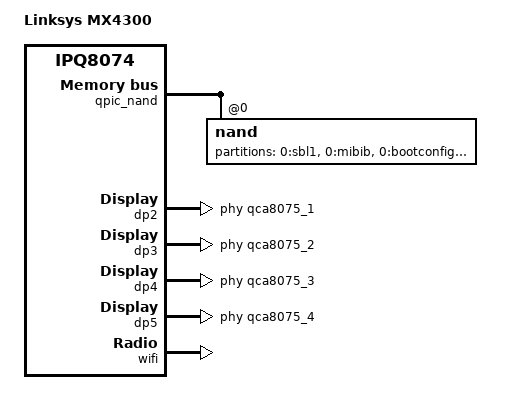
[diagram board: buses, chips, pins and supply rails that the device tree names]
// SPDX-License-Identifier: GPL-2.0-or-later OR MIT

/dts-v1/;

#include "ipq8174-mx4x00.dtsi"

/ {
	model = "Linksys MX4300";
	compatible = "linksys,mx4300", "qcom,ipq8074";

	chosen {
		/*
		In the kernel command line, replace the first occurence of bootargs-find-X with bootargs-replace-X.
		If bootargs-exact-match-X is set to "y", then replacement happens only if the kernel command line
		is identical to bootargs-find-X.
		*/
		bootargs-find-1 = "ubi.mtd=22,2048";
		bootargs-replace-1 = "ubi.mtd=22,4096";

		bootargs-find-2 = "ubi.mtd=24,2048";
		bootargs-replace-2 = "ubi.mtd=24,4096";
	};
};

&qpic_nand {
	status = "okay";

	/*
	 * Bootloader will find the NAND DT node by the compatible and
	 * then "fixup" it by adding the partitions from the SMEM table
	 * using the legacy bindings thus making it impossible for us
	 * to change the partition table or utilize NVMEM for calibration.
	 * So add a dummy partitions node that bootloader will populate
	 * and set it as disabled so the kernel ignores it instead of
	 * printing warnings due to the broken way bootloader adds the
	 * partitions.
	 */
	partitions {
		status = "disabled";
	};

	nand@0 {
		reg = <0>;
		/*
		 * Some devices use Micron NAND with with 8 bit ECC 
		 * other AMD/Spansion NAND with 4 bit ECC
		 *nand-ecc-strength = <4>;
		 *nand-ecc-step-size = <512>;
		 */
		nand-bus-width = <8>;

		partitions {
			compatible = "fixed-partitions";
			#address-cells = <1>;
			#size-cells = <1>;

			partition@0 {
				label = "0:sbl1";
				reg = <0x0 0x100000>;
				read-only;
			};

			partition@100000 {
				label = "0:mibib";
				reg = <0x100000 0x100000>;
				read-only;
			};

			partition@200000 {
				label = "0:bootconfig";
				reg = <0x200000 0x80000>;
				read-only;
			};

			partition@280000 {
				label = "0:bootconfig1";
				reg = <0x280000 0x80000>;
				read-only;
			};

			partition@300000 {
				label = "0:qsee";
				reg = <0x300000 0x300000>;
				read-only;
			};

			partition@600000 {
				label = "0:qsee_1";
				reg = <0x600000 0x300000>;
				read-only;
			};

			partition@900000 {
				label = "0:devcfg";
				reg = <0x900000 0x80000>;
				read-only;
			};

			partition@980000 {
				label = "0:devcfg_1";
				reg = <0x980000 0x80000>;
				read-only;
			};

			partition@a00000 {
				label = "0:apdp";
				reg = <0xa00000 0x80000>;
				read-only;
			};

			partition@a80000 {
				label = "0:apdp_1";
				reg = <0xa80000 0x80000>;
				read-only;
			};

			partition@b00000 {
				label = "0:rpm";
				reg = <0xb00000 0x80000>;
				read-only;
			};

			partition@b80000 {
				label = "0:rpm_1";
				reg = <0xb80000 0x80000>;
				read-only;
			};

			partition@c00000 {
				label = "0:cdt";
				reg = <0xc00000 0x80000>;
				read-only;
			};

			partition@c80000 {
				label = "0:cdt_1";
				reg = <0xc80000 0x80000>;
				read-only;
			};

			partition@d00000 {
				label = "0:appsblenv";
				reg = <0xd00000 0x80000>;
			};

			partition@d80000 {
				label = "0:appsbl";
				reg = <0xd80000 0x100000>;
				read-only;
			};

			partition@e80000 {
				label = "0:appsbl_1";
				reg = <0xe80000 0x100000>;
				read-only;
			};

			partition@f80000 {
				label = "0:art";
				reg = <0xf80000 0x80000>;
				read-only;
			};

			partition@1000000 {
				label = "u_env";
				reg = <0x1000000 0x100000>;
			};

			partition@1100000 {
				label = "s_env";
				reg = <0x1100000 0x100000>;
			};

			partition@1200000 {
				label = "devinfo";
				reg = <0x1200000 0x40000>;
				read-only;
			};

			partition@1240000 {
				label = "kernel";
				reg = <0x1240000 0xaf40000>;
			};

			partition@1a40000 {
				label = "rootfs";
				reg = <0x1a40000 0xa740000>;
			};

			partition@c180000 {
				label = "alt_kernel";
				reg = <0xc180000 0xaf40000>;
			};

			partition@c980000 {
				label = "alt_rootfs";
				reg = <0xc980000 0xa740000>;
			};

			partition@170c0000 {
				label = "sysdiag";
				reg = <0x170c0000 0x400000>;
				read-only;
			};

			partition@174c0000 {
				label = "0:ethphyfw";
				reg = <0x174c0000 0x80000>;
				read-only;
			};

			partition@17540000 {
				label = "syscfg";
				reg = <0x17540000 0x79c0000>;
				read-only;
			};

			partition@1ef00000 {
				label = "secured_store";
				reg = <0x1ef00000 0x400000>;
				read-only;
			};

			partition@1f300000 {
				label = "0:wififw";
				reg = <0x1f300000 0x1900000>;
				read-only;
			};

			partition@20c00000 {
				label = "app2_data";
				reg = <0x20c00000 0x16180000>;
				read-only;
			};

			partition@36d80000 {
				label = "app2";
				reg = <0x36d80000 0x9280000>;
				read-only;
			};
		};
	};
};

&dp2 {
	status = "okay";
	phy-handle = <&qca8075_1>;
	label = "wan";
};

&dp3 {
	status = "okay";
	phy-handle = <&qca8075_2>;
	label = "lan3";
};

&dp4 {
	status = "okay";
	phy-handle = <&qca8075_3>;
	label = "lan2";
};

&dp5 {
	status = "okay";
	phy-handle = <&qca8075_4>;
	label = "lan1";
};

&wifi {
	status = "okay";

	qcom,ath11k-calibration-variant = "Linksys-MX4200v1";
};
